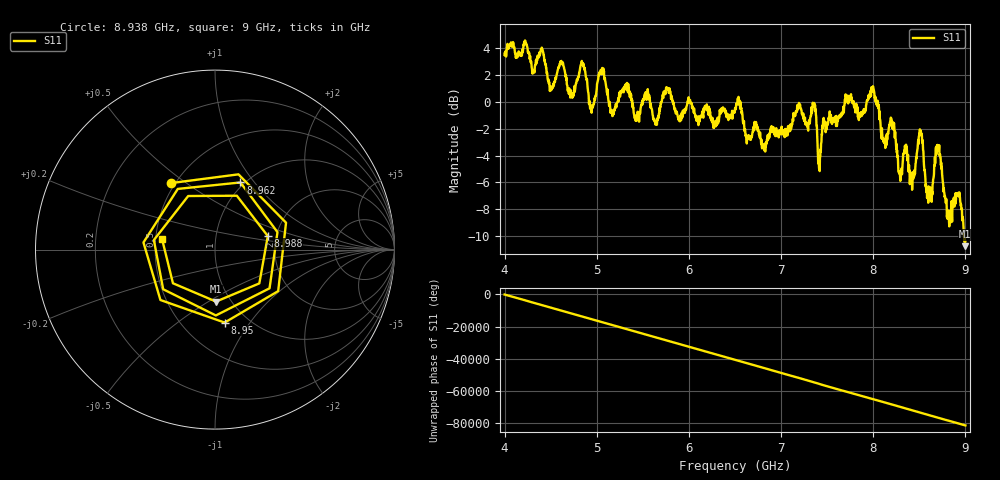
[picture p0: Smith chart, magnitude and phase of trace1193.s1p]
! Created with skrf 1.8.0 (http://scikit-rf.org).
# Hz S RI R 50.0
!freq ReS11 ImS11
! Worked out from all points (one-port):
!   1601 points, 4 GHz to 9 GHz, reference 50 ohm
!   lowest |S11| = -10.8 dB at 8.994 GHz (marker M1), VSWR 1.82, Z = 42.7 - j27 ohm
!   |S11| at or under -10 dB: 8.985492 GHz to end of sweep
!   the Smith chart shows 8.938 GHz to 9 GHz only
!   S11 on the Smith chart (normalised r, x): 8.938 GHz: 0.48, +0.44; 8.95 GHz: 0.78, -0.77; 8.962 GHz: 0.96, +0.85; 8.988 GHz: 1.80, +0.30; 9 GHz: 0.54, +0.07
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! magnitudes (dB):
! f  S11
! 4 GHz  3.5
! 4.625 GHz  2.9
! 4.728 GHz  0.4
! 4.85 GHz  2.9
! 4.941 GHz  -0.6
! 5.047 GHz  2.1
! 5.159 GHz  -0.6
! 5.25 GHz  0.7
! 5.875 GHz  -0.9
! 6.5 GHz  -0.5
! 6.809 GHz  -3.3
! 7.125 GHz  -1.3
! 7.356 GHz  -0.4
! 7.419 GHz  -5.2
! 7.75 GHz  0.4
! 7.997 GHz  1.2
! 8.109 GHz  -2.9
! 8.375 GHz  -4.2
! 8.512 GHz  -2.5
! 8.609 GHz  -6.8
! 8.7 GHz  -3.4
! 8.819 GHz  -8.5
! 8.938 GHz  -7.1
! 8.95 GHz  -7.7
! 8.962 GHz  -8.0
! 8.988 GHz  -10.3
! 8.994 GHz  -10.8
! 9 GHz  -10.4
